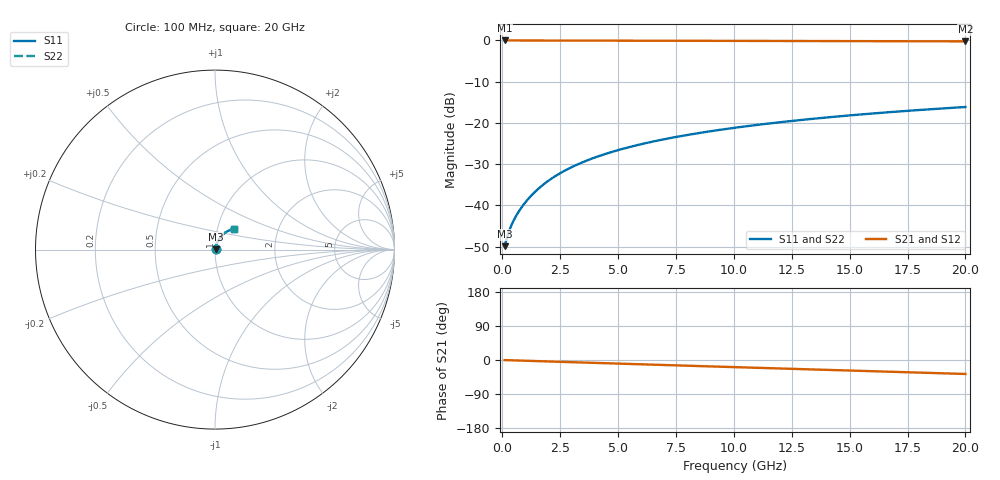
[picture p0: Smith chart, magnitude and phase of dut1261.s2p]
! Touchstone file exported from HFSS 2026.1.0
!  File:  C:/ffzhzh/LocalFiles/Ansys_Project_Files/temp_train_BSMRDL_1261_1783177505_22436.aedt
!  Generated:  11:06:15 PM Jul  4, 2026
!  Design:  BSMRDL
!  Project:  temp_train_BSMRDL_1261_1783177505_22436
! Variables:
!  h_bsmrdl = 4.29um
!  h_ox = 20um
!  h_rdl = 5um
!  h_sub = 80um
!  h_tmrdl = 5um
!  h_tsv = 80um
!  h_via = 3um
!  l_bsmrdl = 637.51um
!  l_sub = 1037.51um
!  l_tmrdl = 200um
!  m_sub = 200um
!  pitch = 28.02um
!  r_tsv = 6um
!  s_tmrdl = 10um
!  w_bsmrdl = 19.4um
!  w_sub = 500um
!  w_tmrdl = 12um
!  x_tsv_center1 = 206um
!  x_tsv_center2 = 862.91um
!  x_tsv_center3 = 1074.91um
!  x_tsv_center4 = 1731.82um
!  x_tsv_center5 = 1943.82um
!  x_tsv_center6 = 2600.73um
# GHz S MA R 50.000000
! Terminal data exported
! Port[1] = BSM_RDL1_1_T1
! Port[2] = BSM_RDL1_1_T2
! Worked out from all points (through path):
!   200 points, 100 MHz to 20 GHz, reference 50 ohm
!   highest |S21| = -0.03 dB at 100 MHz (marker M1); lowest = -0.2 dB at 20 GHz (marker M2)
!   group delay of S21, straight-line fit = 5.1 ps
!   lowest |S11| = -49.9 dB at 100 MHz (marker M3), VSWR 1.01, Z = 50.3 + j0.133 ohm
!   |S11| at or under -10 dB: start of sweep to end of sweep
!   |S22| runs from -49.9 to -16.2 dB; largest |S21 - S12| = 3.6e-15
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0.1  0.003207 24.4  0.9971 -0.2  0.9971 -0.2  0.003207 24.4
! Gamma 0 0 0 0
! Port Impedance 50 0 50 0
0.2  0.004047 38.3  0.9968 -0.4  0.9968 -0.4  0.004046 38.3
0.3  0.004947 45.8  0.9966 -0.6  0.9966 -0.6  0.004945 45.8
0.4  0.005815 50.7  0.9964 -0.8  0.9964 -0.8  0.005809 50.7
0.5  0.006657 54.4  0.9962 -1.0  0.9962 -1.0  0.00665 54.4
0.6  0.007492 57.5  0.9961 -1.2  0.9961 -1.2  0.007485 57.5
0.8  0.009184 62.1  0.996 -1.6  0.996 -1.6  0.009176 62.1
1  0.01092 65.4  0.9958 -2.0  0.9958 -2.0  0.01091 65.5
1.2  0.01269 67.8  0.9957 -2.3  0.9957 -2.3  0.01269 67.8
1.7  0.01723 71.2  0.9953 -3.3  0.9953 -3.3  0.01722 71.3
2.2  0.02181 72.7  0.9949 -4.3  0.9949 -4.3  0.02181 72.8
2.8  0.0273 73.3  0.9943 -5.4  0.9943 -5.4  0.0273 73.3
3.5  0.03363 73.2  0.9936 -6.7  0.9936 -6.7  0.03362 73.2
4.2  0.03983 72.5  0.9927 -8.0  0.9927 -8.0  0.03983 72.6
5  0.04677 71.6  0.9917 -9.5  0.9917 -9.5  0.04677 71.6
5.9  0.05438 70.3  0.9905 -11.2  0.9905 -11.2  0.05437 70.3
6.8  0.06181 68.9  0.9893 -12.9  0.9893 -12.9  0.06179 69.0
8.3  0.07381 66.6  0.9874 -15.7  0.9874 -15.7  0.0738 66.7
10.1  0.08772 63.8  0.9851 -19.0  0.9851 -19.0  0.0877 63.9
13.4  0.112 58.5  0.9809 -25.0  0.9809 -25.0  0.112 58.6
16.7  0.1347 53.1  0.9767 -30.9  0.9767 -30.9  0.1347 53.2
20  0.1557 47.6  0.9725 -36.9  0.9725 -36.9  0.1556 47.8
